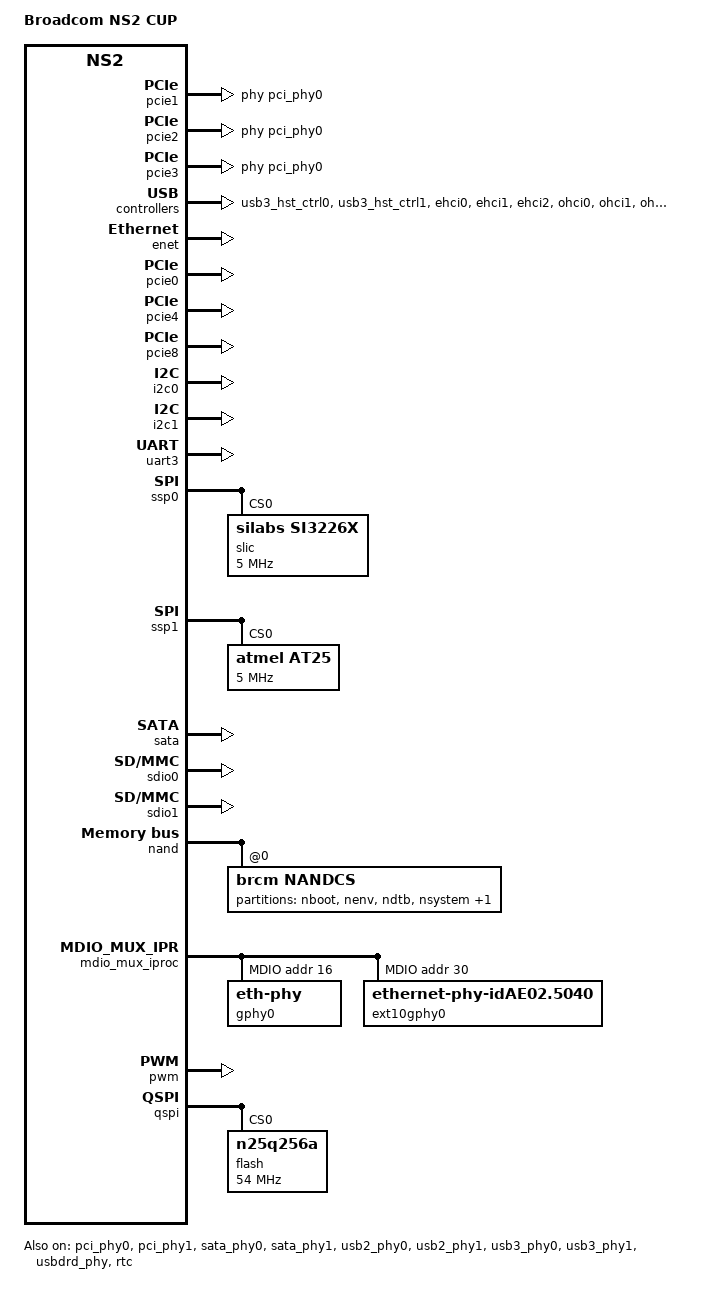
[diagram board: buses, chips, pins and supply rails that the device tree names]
/*
 *  BSD LICENSE
 *
 *  Copyright(c) 2015 Broadcom Corporation.  All rights reserved.
 *
 *  Redistribution and use in source and binary forms, with or without
 *  modification, are permitted provided that the following conditions
 *  are met:
 *
 *    * Redistributions of source code must retain the above copyright
 *      notice, this list of conditions and the following disclaimer.
 *    * Redistributions in binary form must reproduce the above copyright
 *      notice, this list of conditions and the following disclaimer in
 *      the documentation and/or other materials provided with the
 *      distribution.
 *    * Neither the name of Broadcom Corporation nor the names of its
 *      contributors may be used to endorse or promote products derived
 *      from this software without specific prior written permission.
 *
 *  THIS SOFTWARE IS PROVIDED BY THE COPYRIGHT HOLDERS AND CONTRIBUTORS
 *  "AS IS" AND ANY EXPRESS OR IMPLIED WARRANTIES, INCLUDING, BUT NOT
 *  LIMITED TO, THE IMPLIED WARRANTIES OF MERCHANTABILITY AND FITNESS FOR
 *  A PARTICULAR PURPOSE ARE DISCLAIMED. IN NO EVENT SHALL THE COPYRIGHT
 *  OWNER OR CONTRIBUTORS BE LIABLE FOR ANY DIRECT, INDIRECT, INCIDENTAL,
 *  SPECIAL, EXEMPLARY, OR CONSEQUENTIAL DAMAGES (INCLUDING, BUT NOT
 *  LIMITED TO, PROCUREMENT OF SUBSTITUTE GOODS OR SERVICES; LOSS OF USE,
 *  DATA, OR PROFITS; OR BUSINESS INTERRUPTION) HOWEVER CAUSED AND ON ANY
 *  THEORY OF LIABILITY, WHETHER IN CONTRACT, STRICT LIABILITY, OR TORT
 *  (INCLUDING NEGLIGENCE OR OTHERWISE) ARISING IN ANY WAY OUT OF THE USE
 * OF THIS SOFTWARE, EVEN IF ADVISED OF THE POSSIBILITY OF SUCH DAMAGE.
 */

/dts-v1/;

#include "ns2.dtsi"

/ {
	model = "Broadcom NS2 CUP";
	compatible = "brcm,ns2-cup", "brcm,ns2";

	aliases {
		serial0 = &uart3;
	};

	chosen {
		stdout-path = "serial0:115200n8";
		bootargs = "earlycon=uart8250,mmio32,0x66130000";
	};

	pcie1: pcie@20030000 {
		compatible = "brcm,iproc-pcie";
		reg = <0 0x20030000 0 0x1000>;

		#interrupt-cells = <1>;
		interrupt-map-mask = <0 0 0 0>;
		interrupt-map = <0 0 0 0 &gic 0 GIC_SPI 287 IRQ_TYPE_NONE>;

		linux,pci-domain = <1>;

		bus-range = <0x00 0xff>;

		#address-cells = <3>;
		#size-cells = <2>;
		device_type = "pci";
		ranges = <0x83000000 0 0x8000000 0 0x8000000 0 0x8000000>;

		brcm,pcie-ob;
		brcm,pcie-ob-oarr-size;
		brcm,pcie-ob-axi-offset = <0x8000000>;
		brcm,pcie-ob-window-size = <128>;

		phys = <&pci_phy0>;
		phy-names = "pcie-phy";

		msi-parent = <&v2m0>;
	};

	pcie2: pcie@20040000 {
		compatible = "brcm,iproc-pcie";
		reg = <0 0x20040000 0 0x1000>;

		#interrupt-cells = <1>;
		interrupt-map-mask = <0 0 0 0>;
		interrupt-map = <0 0 0 0 &gic 0 GIC_SPI 293 IRQ_TYPE_NONE>;

		linux,pci-domain = <2>;

		bus-range = <0x00 0xff>;

		#address-cells = <3>;
		#size-cells = <2>;
		device_type = "pci";
		ranges = <0x83000000 0 0x10000000 0 0x10000000 0 0x8000000>;

		brcm,pcie-ob;
		brcm,pcie-ob-oarr-size;
		brcm,pcie-ob-axi-offset = <0x10000000>;
		brcm,pcie-ob-window-size = <128>;

		phys = <&pci_phy0>;
		phy-names = "pcie-phy";

		msi-parent = <&v2m0>;
	};

	pcie3: pcie@20050000 {
		compatible = "brcm,iproc-pcie";
		reg = <0 0x20050000 0 0x1000>;

		#interrupt-cells = <1>;
		interrupt-map-mask = <0 0 0 0>;
		interrupt-map = <0 0 0 0 &gic 0 GIC_SPI 299 IRQ_TYPE_NONE>;

		linux,pci-domain = <3>;

		bus-range = <0x00 0xff>;

		#address-cells = <3>;
		#size-cells = <2>;
		device_type = "pci";
		ranges = <0x83000000 0 0x18000000 0 0x18000000 0 0x8000000>;

		brcm,pcie-ob;
		brcm,pcie-ob-oarr-size;
		brcm,pcie-ob-axi-offset = <0x18000000>;
		brcm,pcie-ob-window-size = <128>;

		phys = <&pci_phy0>;
		phy-names = "pcie-phy";

		msi-parent = <&v2m0>;
	};
};

&soc {
	usb3_hst_ctrl0: syscon@66300e00 {
		compatible = "brcm,ns2-xhci0-histogram", "syscon";
		reg = <0x66300e00 0x1ac>;
	};

	usb3_hst_ctrl1: syscon@66310e00 {
		compatible = "brcm,ns2-xhci1-histogram", "syscon";
		reg = <0x66310e00 0x1ac>;
	};
};

&ehci0 {
	status = "okay";
};

&ehci1 {
	status = "okay";
};

&ehci2 {
	status = "okay";
};

&enet {
	status = "okay";
};

&ohci0 {
	status = "okay";
};

&ohci1 {
	status = "okay";
};

&ohci2 {
	status = "okay";
};

&pci_phy0 {
	status = "okay";
};

&pci_phy1 {
	status = "okay";
};

&pcie0 {
	ranges = <0x83000000 0 0x00000000 0 0x00000000 0 0x8000000>;
	brcm,pcie-ob-window-size = <128>;
	status = "okay";
};

&pcie4 {
	status = "okay";
};

&pcie8 {
	status = "okay";
};

&i2c0 {
	status = "okay";
};

&i2c1 {
	status = "okay";
};

&uart3 {
	status = "okay";
};

&ssp0 {
	status = "okay";

	slic@0 {
		compatible = "silabs,si3226x";
		reg = <0>;
		spi-max-frequency = <5000000>;
		spi-cpha = <1>;
		spi-cpol = <1>;
		pl022,hierarchy = <0>;
		pl022,interface = <0>;
		pl022,slave-tx-disable = <0>;
		pl022,com-mode = <0>;
		pl022,rx-level-trig = <1>;
		pl022,tx-level-trig = <1>;
		pl022,ctrl-len = <11>;
		pl022,wait-state = <0>;
		pl022,duplex = <0>;
	};
};

&ssp1 {
	status = "okay";

	at25@0 {
		compatible = "atmel,at25";
		reg = <0>;
		spi-max-frequency = <5000000>;
		at25,byte-len = <0x8000>;
		at25,addr-mode = <2>;
		at25,page-size = <64>;
		spi-cpha = <1>;
		spi-cpol = <1>;
		pl022,hierarchy = <0>;
		pl022,interface = <0>;
		pl022,slave-tx-disable = <0>;
		pl022,com-mode = <0>;
		pl022,rx-level-trig = <1>;
		pl022,tx-level-trig = <1>;
		pl022,ctrl-len = <11>;
		pl022,wait-state = <0>;
		pl022,duplex = <0>;
	};
};

&sata_phy0 {
	status = "okay";
};

&sata_phy1 {
	status = "okay";
};

&sata {
	status = "okay";
};

&sdio0 {
	status = "okay";
};

&sdio1 {
	status = "okay";
};

&nand {
	nandcs@0 {
		compatible = "brcm,nandcs";
		reg = <0>;
		nand-ecc-mode = "hw";
		nand-ecc-strength = <30>;
		nand-ecc-step-size = <1024>;
		nand-bus-width = <8>;
		brcm,nand-oob-sector-size = <27>;
		#address-cells = <1>;
		#size-cells = <1>;
		partition@0 {
			label = "nboot";
			reg = <0x00000000 0x00280000>;
			read-only;
		};

		partition@280000 {
			label = "nenv";
			reg = <0x00280000 0x00040000>;
			read-only;
		};

		partition@2c0000 {
			label = "ndtb";
			reg = <0x002c0000 0x00040000>;
			read-only;
		};

		partition@300000 {
			label = "nsystem";
			reg = <0x00300000 0x03d00000>;
			read-only;
		};

		partition@4000000 {
			label = "nrootfs";
			reg = <0x04000000 0x3c000000>;
		};
	};
};

&mdio_mux_iproc {
	mdio@10 {
		gphy0: eth-phy@10 {
			reg = <0x10>;
		};
		ext10gphy0: eth-phy@1E {
			compatible = "ethernet-phy-idAE02.5040",
				     "ethernet-phy-ieee802.3-c45";
			reg = <0x1E>;
		};
	};
};

&pinctrl {
	pinctrl-names = "default";
	pinctrl-0 = <&nand_sel &gpio_sel &pwm_sel>;
	nand_sel: nand_sel {
		function = "nand";
		groups = "nand_grp";
	};

	gpio_sel: gpio_sel {
		function = "gpio";
		groups = "gpio_0_1_grp","gpio_20_21_grp";
	};

	pwm_sel: pwm_sel {
		function = "pwm";
		groups = "pwm_0_grp", "pwm_1_grp";
	};
};

&pwm {
	status = "okay";
};

&qspi {
	bspi-sel = <0>;
	flash: n25q256a@0 {
		#address-cells = <1>;
		#size-cells = <1>;
		compatible = "n25q256a","jedec,spi-nor";
		reg = <0x0>;
		spi-max-frequency = <54000000>;
		m25p,fast-read;
		spi-cpol;
		spi-cpha;
	};
};

&udc_dwc {
	status = "okay";
};

&usb2_phy0 {
	brcm,ns2-inv-ppc-pol = <1>;
	status = "okay";
};

&usb2_phy1 {
	status = "okay";
};

&usb3_phy0 {
	brcm,ns2-inv-vbus-ppc-pol = <1>;
	hist-syscon = <&usb3_hst_ctrl0>;
	status = "okay";

};

&usb3_phy1 {
	hist-syscon = <&usb3_hst_ctrl1>;
	status = "okay";
};

&usbdrd_phy {
	id-gpios = <&gpio_g 20 0>;
	status = "okay";
};

&rtc {
	status = "okay";
};

&xhci0 {
	status = "okay";
};
